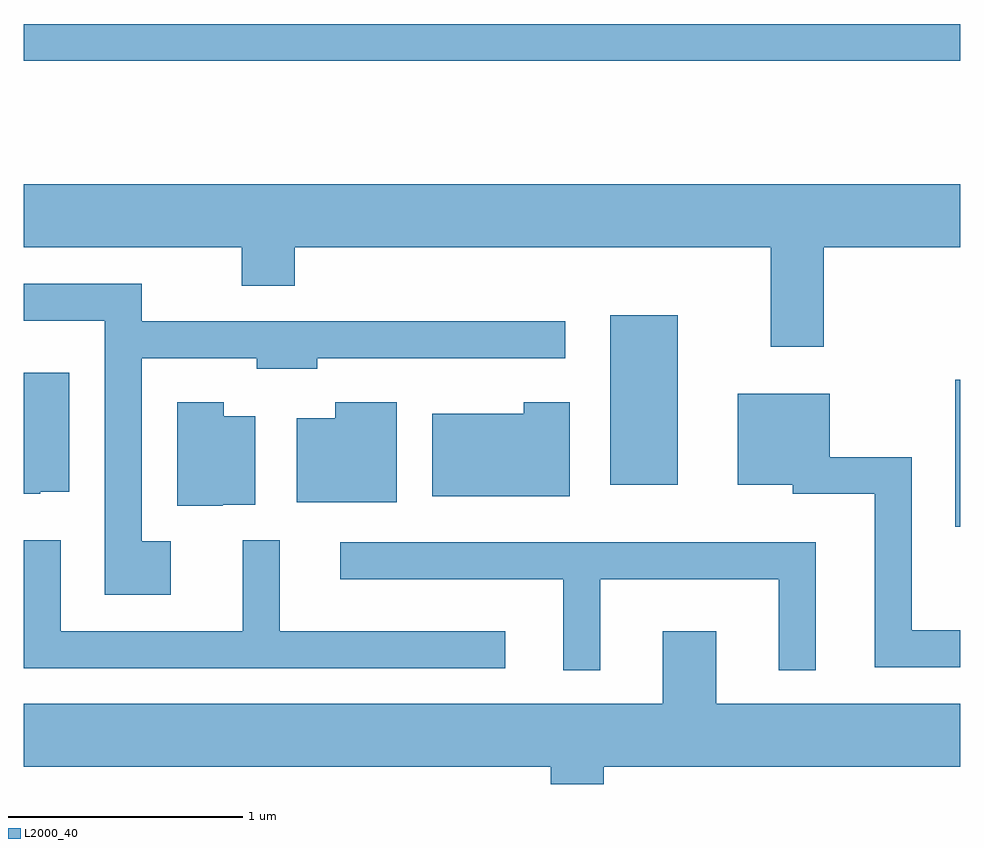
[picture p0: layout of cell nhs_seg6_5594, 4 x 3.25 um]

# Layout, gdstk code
import gdstk
lib = gdstk.Library(unit=1e-6, precision=1e-09)
def R(c, l, rs):  # rectangles x0, y0, x1, y1
    for r in rs: c.add(gdstk.rectangle(r[:2], r[2:], *l))
def P(c, l, *ps):  # polygons
    for p in ps: c.add(gdstk.Polygon(p, *l))
L2000_40 = (2000, 40)

nhs_seg6_5594 = lib.new_cell('nhs_seg6_5594')
R(nhs_seg6_5594, L2000_40, [(359.591,1573.261,359.611,1573.889), (358.116,1573.441,358.404,1574.164), (355.611,1575.251,359.611,1575.409)])
P(nhs_seg6_5594, L2000_40, [(359.029,1574.456),(359.611,1574.456),(359.611,1574.724),(355.611,1574.724),(355.611,1574.456),(356.541,1574.456),(356.541,1574.291),(356.769,1574.291),(356.769,1574.456),(358.801,1574.456),(358.801,1574.031),(359.029,1574.031)],
  [(356.239,1573.199),(356.114,1573.199),(356.114,1573.981),(356.606,1573.981),(356.606,1573.936),(356.864,1573.936),(356.864,1573.981),(357.923,1573.981),(357.923,1574.139),(356.114,1574.139),(356.114,1574.299),(355.611,1574.299),(355.611,1574.141),(355.956,1574.141),(355.956,1572.971),(356.239,1572.971)],
  [(355.68,1573.411),(355.804,1573.411),(355.804,1573.919),(355.611,1573.919),(355.611,1573.401),(355.68,1573.401)],
  [(359.611,1572.819),(359.404,1572.819),(359.404,1573.559),(359.054,1573.559),(359.054,1573.829),(358.661,1573.829),(358.661,1573.441),(358.896,1573.441),(358.896,1573.401),(359.246,1573.401),(359.246,1572.661),(359.611,1572.661)],
  [(357.204,1573.794),(356.941,1573.794),(356.941,1573.724),(356.776,1573.724),(356.776,1573.366),(357.204,1573.366)],
  [(357.944,1573.794),(357.746,1573.794),(357.746,1573.744),(357.356,1573.744),(357.356,1573.391),(357.944,1573.391)],
  [(356.46,1573.356),(356.599,1573.356),(356.599,1573.734),(356.464,1573.734),(356.464,1573.794),(356.266,1573.794),(356.266,1573.351),(356.46,1573.351)],
  [(357.668,1572.814),(356.704,1572.814),(356.704,1573.203),(356.546,1573.203),(356.546,1572.814),(355.769,1572.814),(355.769,1573.203),(355.611,1573.203),(355.611,1572.656),(357.668,1572.656)],
  [(358.074,1573.036),(358.836,1573.036),(358.836,1572.648),(358.994,1572.648),(358.994,1573.194),(356.963,1573.194),(356.963,1573.036),(357.916,1573.036),(357.916,1572.648),(358.074,1572.648)],
  [(358.089,1572.236),(359.611,1572.236),(359.611,1572.504),(358.569,1572.504),(358.569,1572.814),(358.341,1572.814),(358.341,1572.504),(355.611,1572.504),(355.611,1572.236),(357.861,1572.236),(357.861,1572.162),(358.089,1572.162)])

lib.write_gds('nhs_seg6_5594.gds')
